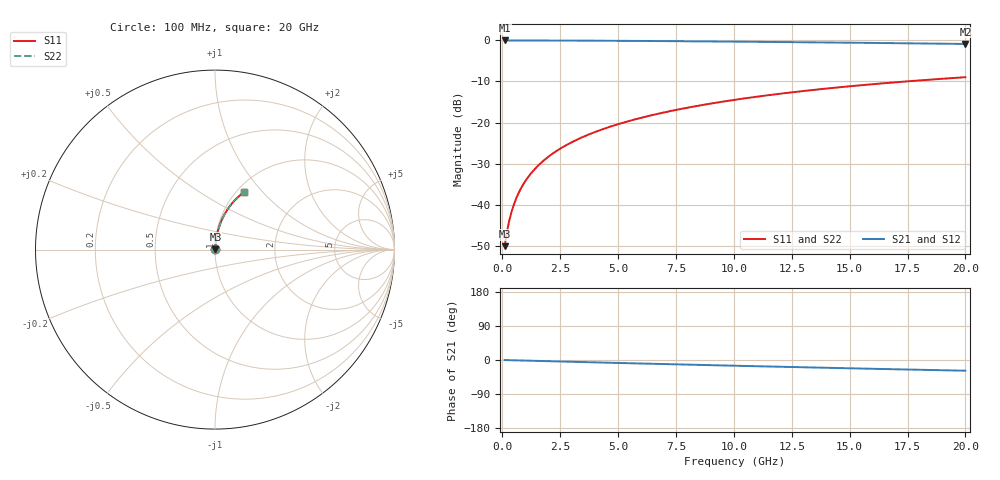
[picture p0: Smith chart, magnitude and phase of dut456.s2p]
! Touchstone file exported from HFSS 2024.1.0
!  File:  C:/UserFiles/LocalFiles/RDL_TSV_Batchsim/temp_RDL_top_456_1779677363.aedt
!  Generated:  10:51:49 AM May 25, 2026
!  Design:  RDL_top
!  Project:  temp_RDL_top_456_1779677363
!  Setup:  Setup1
!  Solution:  Sweep
! Variables:
!  dtsv = 10.80580581um
!  hbump = 3um
!  htsv = 86.04um
!  ldown = 100um
!  lrdl = 326.58um
!  p = 40
!  p1 = 50.74um
!  rhole = 1um
!  t = 450um
!  tdown = 3.915915916um
!  trdl = 4.57um
!  wdown = 15.38538539um
!  wrdl = 10.74um
# GHz S MA R 50.000000
! Terminal data exported
! Port[1] = Box2_T1
! Port[2] = Box2_T2
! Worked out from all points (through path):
!   200 points, 100 MHz to 20 GHz, reference 50 ohm
!   highest |S21| = -0.02 dB at 100 MHz (marker M1); lowest = -0.9 dB at 20 GHz (marker M2)
!   group delay of S21, straight-line fit = 3.92 ps
!   lowest |S11| = -50.1 dB at 100 MHz (marker M3), VSWR 1.01, Z = 50.2 + j0.198 ohm
!   |S11| at or under -10 dB: start of sweep to 17.43 GHz
!   |S22| runs from -50.1 to -9.0 dB; largest |S21 - S12| = 2.7e-15
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0.1  0.003131 39.0  0.9976 -0.2  0.9976 -0.2  0.003131 39.0
! Gamma 0 0 0 0
! Port Impedance 50 0 50 0
0.2  0.004639 57.7  0.9975 -0.3  0.9975 -0.3  0.004639 57.7
0.3  0.006382 66.6  0.9975 -0.5  0.9975 -0.5  0.006382 66.6
0.4  0.008201 71.5  0.9974 -0.6  0.9974 -0.6  0.008201 71.5
0.5  0.01005 74.6  0.9973 -0.8  0.9973 -0.8  0.01005 74.6
0.6  0.01192 76.7  0.9973 -1.0  0.9973 -1.0  0.01192 76.7
0.8  0.01569 79.4  0.9971 -1.3  0.9971 -1.3  0.01569 79.4
1.1  0.02138 81.5  0.9968 -1.8  0.9968 -1.8  0.02138 81.5
1.5  0.02901 82.7  0.9964 -2.4  0.9964 -2.4  0.02901 82.7
1.8  0.03473 83.2  0.9959 -2.9  0.9959 -2.9  0.03473 83.2
2.1  0.04046 83.4  0.9955 -3.3  0.9955 -3.3  0.04046 83.4
2.7  0.0519 83.4  0.9943 -4.3  0.9943 -4.3  0.0519 83.4
3.5  0.06711 83.0  0.9924 -5.5  0.9924 -5.5  0.06711 83.0
4.2  0.08038 82.4  0.9904 -6.6  0.9904 -6.6  0.08038 82.4
5  0.0955 81.7  0.9878 -7.8  0.9878 -7.8  0.0955 81.7
5.9  0.1124 80.7  0.9844 -9.2  0.9844 -9.2  0.1124 80.7
6.8  0.1293 79.7  0.9808 -10.5  0.9808 -10.5  0.1293 79.7
8.3  0.1572 78.0  0.974 -12.7  0.974 -12.7  0.1572 78.0
10.1  0.1902 75.8  0.9651 -15.2  0.9651 -15.2  0.1902 75.8
13.4  0.2489 71.6  0.9467 -19.8  0.9467 -19.8  0.2489 71.7
16.7  0.3045 67.5  0.9264 -24.1  0.9264 -24.1  0.3045 67.5
20  0.3563 63.4  0.9046 -28.3  0.9046 -28.3  0.3563 63.4
